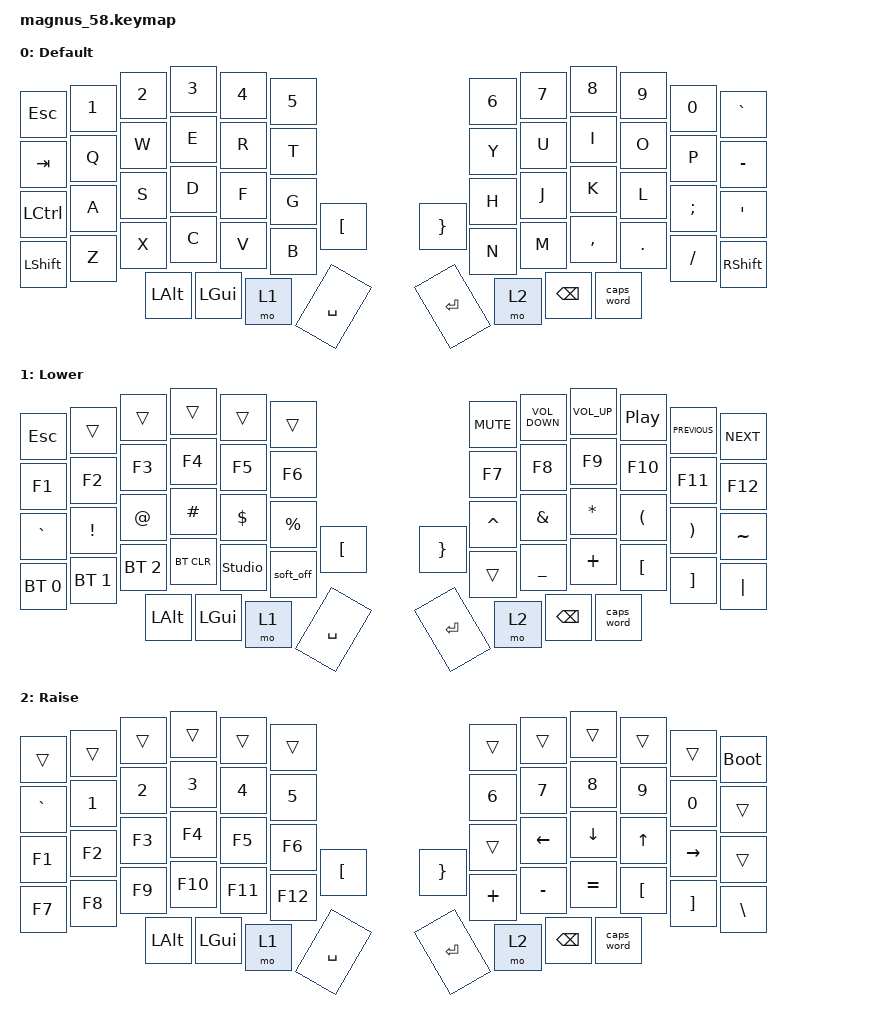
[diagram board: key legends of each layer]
#include <behaviors.dtsi>
#include <dt-bindings/zmk/keys.h>
#include <dt-bindings/zmk/bt.h>
#include <behaviors.dtsi>

&soft_off {
    hold-time-ms = <3000>; // Only turn off it the key is held for 3 seconds or longer.
};

/ {
    keymap {
        compatible = "zmk,keymap";

        default_layer {
            display-name = "Default";
            bindings = <
                &kp ESC     &kp 1     &kp 2     &kp 3     &kp 4     &kp 5           &kp 6     &kp 7     &kp 8     &kp 9       &kp 0      &kp GRAVE
                &kp TAB     &kp Q     &kp W     &kp E     &kp R     &kp T           &kp Y     &kp U     &kp I     &kp O       &kp P      &kp MINUS
                &kp LCTRL   &kp A     &kp S     &kp D     &kp F     &kp G           &kp H     &kp J     &kp K     &kp L       &kp SCLN   &kp QUOT
                &kp LSHIFT  &kp Z     &kp X     &kp C     &kp V     &kp B           &kp N     &kp M     &kp COMMA &kp DOT     &kp SLASH  &kp RSHIFT
                            &kp LALT  &kp LGUI  &mo 1     &kp SPACE &kp LBKT        &kp RBRC  &kp ENTER &mo 2     &kp BSPC    &caps_word
            >;
        };

        lower_layer {
            display-name = "Lower";
            bindings = <
                &kp ESC         &trans          &trans          &trans      &trans          &trans              &kp C_MUTE  &kp C_VOLUME_DOWN   &kp C_VOLUME_UP &kp C_PLAY_PAUSE    &kp C_PREVIOUS  &kp C_NEXT
                &kp F1          &kp F2          &kp F3          &kp F4      &kp F5          &kp F6              &kp F7      &kp F8              &kp F9          &kp F10             &kp F11         &kp F12
                &kp GRAVE       &kp EXCL        &kp AT          &kp HASH    &kp DOLLAR      &kp PERCENT         &kp CARET   &kp AMPS            &kp ASTRK       &kp LPAR            &kp RPAR        &kp TILDE
                &bt BT_SEL 0    &bt BT_SEL 1    &bt BT_SEL 2    &bt BT_CLR  &studio_unlock  &soft_off           &trans      &kp UNDER           &kp PLUS        &kp LBKT            &kp RBKT        &kp PIPE
                                &kp LALT        &kp LGUI        &mo 1       &kp SPACE       &kp LBKT            &kp RBRC    &kp ENTER           &mo 2           &kp BSPC            &caps_word
            >;
        };

        raise_layer {
            display-name = "Raise";
            bindings = <
                &trans     &trans     &trans     &trans     &trans     &trans       &trans     &trans      &trans     &trans     &trans     &bootloader
                &kp GRAVE  &kp 1      &kp 2      &kp 3      &kp 4      &kp 5        &kp 6      &kp 7       &kp 8      &kp 9      &kp 0      &trans
                &kp F1     &kp F2     &kp F3     &kp F4     &kp F5     &kp F6       &trans     &kp LEFT    &kp DOWN   &kp UP     &kp RIGHT  &trans
                &kp F7     &kp F8     &kp F9     &kp F10    &kp F11    &kp F12      &kp PLUS   &kp MINUS   &kp EQUAL  &kp LBKT   &kp RBKT   &kp BSLH
                           &kp LALT   &kp LGUI   &mo 1      &kp SPACE  &kp LBKT     &kp RBRC   &kp ENTER   &mo 2      &kp BSPC   &caps_word

            >;
        };

        extra1_layer {
            status = "reserved";
        };

        extra2_layer {
            status = "reserved";
        };

        extra3_layer {
            status = "reserved";
        };
    };
};
